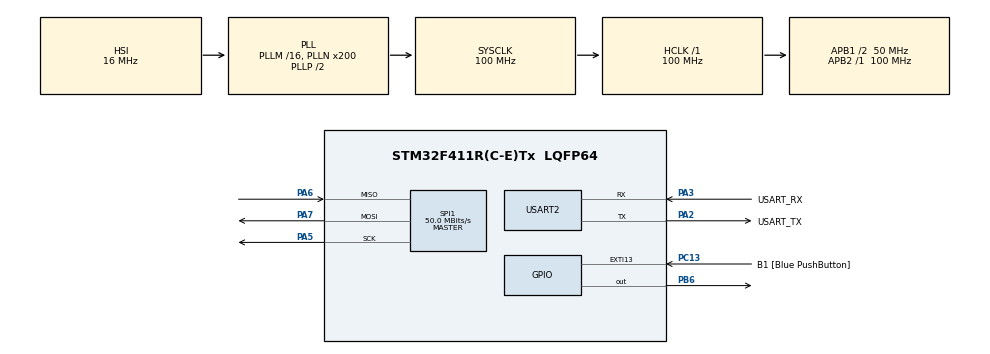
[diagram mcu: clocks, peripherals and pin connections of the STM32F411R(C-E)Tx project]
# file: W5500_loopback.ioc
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Mcu.Family=STM32F4
Mcu.Name=STM32F411R(C-E)Tx
Mcu.Package=LQFP64
NVIC.PriorityGroup=NVIC_PRIORITYGROUP_0
NVIC.USART2_IRQn=true\:0\:0\:false\:false\:true\:true\:true
PA13.GPIO_Label=TMS
PA13.Mode=Serial_Wire
PA13.Signal=SYS_JTMS-SWDIO
PA14.GPIO_Label=TCK
PA14.Mode=Serial_Wire
PA14.Signal=SYS_JTCK-SWCLK
PA2.GPIO_Label=USART_TX
PA2.Mode=Asynchronous
PA2.Signal=USART2_TX
PA3.GPIO_Label=USART_RX
PA3.Mode=Asynchronous
PA3.Signal=USART2_RX
PA5.Mode=Full_Duplex_Master
PA5.Signal=SPI1_SCK
PA6.Mode=Full_Duplex_Master
PA6.Signal=SPI1_MISO
PA7.Mode=Full_Duplex_Master
PA7.Signal=SPI1_MOSI
PB3.GPIO_Label=SWO
PB3.Signal=SYS_JTDO-SWO
PB6.Signal=GPIO_Output
PC13-ANTI_TAMP.GPIO_Label=B1 [Blue PushButton]
PC13-ANTI_TAMP.GPIO_ModeDefaultEXTI=GPIO_MODE_IT_FALLING
PC13-ANTI_TAMP.Signal=GPXTI13
PC14-OSC32_IN.Mode=LSE-External-Oscillator
PC14-OSC32_IN.Signal=RCC_OSC32_IN
PC15-OSC32_OUT.Mode=LSE-External-Oscillator
PC15-OSC32_OUT.Signal=RCC_OSC32_OUT
PH0\ -\ OSC_IN.Mode=HSE-External-Clock-Source
PH0\ -\ OSC_IN.Signal=RCC_OSC_IN
PH1\ -\ OSC_OUT.Mode=HSE-External-Clock-Source
PH1\ -\ OSC_OUT.Signal=RCC_OSC_OUT
ProjectManager.HeapSize=0x200
ProjectManager.StackSize=0x400
ProjectManager.TargetToolchain=TrueSTUDIO
RCC.48MHZClocksFreq_Value=50000000
RCC.AHBFreq_Value=100000000
RCC.APB1CLKDivider=RCC_HCLK_DIV2
RCC.APB1Freq_Value=50000000
RCC.APB1TimFreq_Value=100000000
RCC.APB2Freq_Value=100000000
RCC.APB2TimFreq_Value=100000000
RCC.CortexFreq_Value=100000000
RCC.FLatency-AdvancedSettings=FLASH_LATENCY_3
RCC.HCLKFreq_Value=100000000
RCC.HSE_VALUE=8000000
RCC.HSI_VALUE=16000000
RCC.PLLN=200
RCC.SYSCLKFreq_VALUE=100000000
RCC.SYSCLKSource=RCC_SYSCLKSOURCE_PLLCLK
RCC.VCOOutputFreq_Value=200000000
SPI1.CalculateBaudRate=50.0 MBits/s
SPI1.Direction=SPI_DIRECTION_2LINES
SPI1.Mode=SPI_MODE_MASTER
SPI1.VirtualType=VM_MASTER
USART2.VirtualMode=VM_ASYNC
board=NUCLEO-F411RE

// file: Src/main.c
/* USER CODE BEGIN Header */
/**
  ******************************************************************************
  * @file           : main.c
  * @brief          : Main program body
  ******************************************************************************
  * @attention
  *
  * <h2><center>&copy; Copyright (c) 2019 STMicroelectronics.
  * All rights reserved.</center></h2>
  *
  * This software component is licensed by ST under BSD 3-Clause license,
  * the "License"; You may not use this file except in compliance with the
  * License. You may obtain a copy of the License at:
  *                        opensource.org/licenses/BSD-3-Clause
  *
  ******************************************************************************
  */
/* USER CODE END Header */

#include "main.h"

/* USER CODE BEGIN Includes */
#include "wizchip_conf.h"
/* USER CODE END Includes */

SPI_HandleTypeDef hspi1;

UART_HandleTypeDef huart2;

/* USER CODE BEGIN PV */
wiz_NetInfo defaultNetInfo = { .mac = {0x00,0x08,0xdc,0xff,0xee,0xdd},
							.ip = {192,168,0,130},
							//.ip = {222,98,173,241},
							.sn = {255,255,255,0},
							.gw = {222,98,173,254},
							//.dns = {168, 126, 63, 1},
							.dns = {8, 8, 8, 8},
							.dhcp = NETINFO_STATIC};

unsigned char gServer_IP[4] = {192,168,0,5};
/* USER CODE END PV */

void SystemClock_Config(void);
static void MX_GPIO_Init(void);
static void MX_SPI1_Init(void);
static void MX_USART2_UART_Init(void);
/* USER CODE BEGIN PFP */
uint8_t rxData[2];
uint8_t eth0_buf[512];

int _write(int fd, char *str, int len)
{
	for(int i=0; i<len; i++)
	{
		HAL_UART_Transmit(&huart2, (uint8_t *)&str[i], 1, 0xFFFF);
	}
	return len;
}

void HAL_UART_RxCpltCallback(UART_HandleTypeDef *huart) {

    /*
        This will be called once data is received successfully,
        via interrupts.
    */

     /*
       loop back received data
     */
     HAL_UART_Receive_IT(&huart2, rxData, 1);
     HAL_UART_Transmit(&huart2, rxData, 1, 1000);
}
/* USER CODE END PFP */

/* USER CODE BEGIN 0 */
void csEnable(void)
{
	HAL_GPIO_WritePin(GPIOB, GPIO_PIN_6, GPIO_PIN_RESET);
}

void csDisable(void)
{
	HAL_GPIO_WritePin(GPIOB, GPIO_PIN_6, GPIO_PIN_SET);
}

void spiWriteByte(uint8_t tx)
{
	uint8_t rx;
	HAL_SPI_TransmitReceive(&hspi1, &tx, &rx, 1, 10);
}

uint8_t spiReadByte(void)
{
	uint8_t rx = 0, tx = 0xFF;
	HAL_SPI_TransmitReceive(&hspi1, &tx, &rx, 1, 10);
	return rx;
}
void W5500_Initialze(void)
{
	//intr_kind temp;
	//unsigned char W5100S_AdrSet[2][4] = {{2,2,2,2},{2,2,2,2}};
	csDisable();
	/*
	 */
	reg_wizchip_cs_cbfunc(csEnable, csDisable);
	reg_wizchip_spi_cbfunc(spiReadByte,spiWriteByte);
	/*temp = IK_DEST_UNREACH;

	if(ctlwizchip(CW_INIT_WIZCHIP,(void*)W5100S_AdrSet) == -1)
	{
		printf("W5100S initialized fail.\r\n");
	}

	if(ctlwizchip(CW_SET_INTRMASK,&temp) == -1)
	{
		printf("W5100S interrupt\r\n");
	}

	do{//check phy status.
		if(ctlwizchip(CW_GET_PHYLINK,(void*)&temp) == -1){
			printf("Unknown PHY link status.\r\n");
		}
	}while(temp == PHY_LINK_OFF);
	*/
	uint8_t tmp;
	uint8_t memsize[2][8] = { {2,2,2,2,2,2,2,2},{2,2,2,2,2,2,2,2}};
	if(ctlwizchip(CW_INIT_WIZCHIP,(void*)memsize) == -1)
	{
		//myprintf("WIZCHIP Initialized fail.\r\n");
		HAL_UART_Transmit(&huart2, (uint8_t *)"WIZCHIP Initialized fail.\r\n", 1, 10);
	  return;
	}

	/* PHY link status check */
	do {
		if(ctlwizchip(CW_GET_PHYLINK, (void*)&tmp) == -1)
		{
		  HAL_UART_Transmit(&huart2, (uint8_t *)"Unknown PHY Link status.\r\n", 1, 10);
		  return;
		}
	} while (tmp == PHY_LINK_OFF);
}

void print_network_information(void)
{
	wizchip_getnetinfo(&defaultNetInfo);
	printf("Mac address: %02x:%02x:%02x:%02x:%02x:%02x\n\r",defaultNetInfo.mac[0],defaultNetInfo.mac[1],defaultNetInfo.mac[2],defaultNetInfo.mac[3],defaultNetInfo.mac[4],defaultNetInfo.mac[5]);
	printf("IP address : %d.%d.%d.%d\n\r",defaultNetInfo.ip[0],defaultNetInfo.ip[1],defaultNetInfo.ip[2],defaultNetInfo.ip[3]);
	printf("SM Mask	   : %d.%d.%d.%d\n\r",defaultNetInfo.sn[0],defaultNetInfo.sn[1],defaultNetInfo.sn[2],defaultNetInfo.sn[3]);
	printf("Gate way   : %d.%d.%d.%d\n\r",defaultNetInfo.gw[0],defaultNetInfo.gw[1],defaultNetInfo.gw[2],defaultNetInfo.gw[3]);
	printf("DNS Server : %d.%d.%d.%d\n\r",defaultNetInfo.dns[0],defaultNetInfo.dns[1],defaultNetInfo.dns[2],defaultNetInfo.dns[3]);
}
/* USER CODE END 0 */

int main(void)
{
  /* USER CODE BEGIN 1 */\
  uint8_t ret;
  /* USER CODE END 1 */

  /* MCU Configuration--------------------------------------------------------*/

  /* Reset of all peripherals, Initializes the Flash interface and the Systick. */
  HAL_Init();

  /* Configure the system clock */
  SystemClock_Config();

  /* Initialize all configured peripherals */
  MX_GPIO_Init();
  MX_SPI1_Init();
  MX_USART2_UART_Init();
  /* USER CODE BEGIN 2 */
  printf("Hello! W5500 loopback System \r\n");
    HAL_UART_Receive_IT(&huart2, rxData, 1);

    W5500_Initialze();
    wizchip_setnetinfo(&defaultNetInfo);
    print_network_information();
  /* USER CODE END 2 */

  /* Infinite loop */
  while (1)
  {

    /* USER CODE BEGIN 3 */
	ret = loopback_tcps(0, eth0_buf, 5001);
	/*if(eth0_buf[0] != 0 )
	{
		printf("ret = %d, buf = %X[%s]\r\n", ret, eth0_buf[0],eth0_buf);
		if(eth0_buf[0] == 0x5a)
		{
			printf("data = 0x5a \r\n");
			eth0_buf[0] = 0xA5;
			ret = send(0, eth0_buf, 1);
		}
		else
		{
			ret = send(0, eth0_buf, strlen(eth0_buf));
		}
		memset(eth0_buf, 0, sizeof(eth0_buf));
	}*/

  }
  /* USER CODE END 3 */
}

void SystemClock_Config(void)
{
  RCC_OscInitTypeDef RCC_OscInitStruct = {0};
  RCC_ClkInitTypeDef RCC_ClkInitStruct = {0};

  /** Configure the main internal regulator output voltage
  */
  __HAL_RCC_PWR_CLK_ENABLE();
  __HAL_PWR_VOLTAGESCALING_CONFIG(PWR_REGULATOR_VOLTAGE_SCALE1);
  /** Initializes the CPU, AHB and APB busses clocks
  */
  RCC_OscInitStruct.OscillatorType = RCC_OSCILLATORTYPE_HSI;
  RCC_OscInitStruct.HSIState = RCC_HSI_ON;
  RCC_OscInitStruct.HSICalibrationValue = RCC_HSICALIBRATION_DEFAULT;
  RCC_OscInitStruct.PLL.PLLState = RCC_PLL_ON;
  RCC_OscInitStruct.PLL.PLLSource = RCC_PLLSOURCE_HSI;
  RCC_OscInitStruct.PLL.PLLM = 16;
  RCC_OscInitStruct.PLL.PLLN = 200;
  RCC_OscInitStruct.PLL.PLLP = RCC_PLLP_DIV2;
  RCC_OscInitStruct.PLL.PLLQ = 4;
  if (HAL_RCC_OscConfig(&RCC_OscInitStruct) != HAL_OK)
  {
    Error_Handler();
  }
  /** Initializes the CPU, AHB and APB busses clocks
  */
  RCC_ClkInitStruct.ClockType = RCC_CLOCKTYPE_HCLK|RCC_CLOCKTYPE_SYSCLK
                              |RCC_CLOCKTYPE_PCLK1|RCC_CLOCKTYPE_PCLK2;
  RCC_ClkInitStruct.SYSCLKSource = RCC_SYSCLKSOURCE_PLLCLK;
  RCC_ClkInitStruct.AHBCLKDivider = RCC_SYSCLK_DIV1;
  RCC_ClkInitStruct.APB1CLKDivider = RCC_HCLK_DIV2;
  RCC_ClkInitStruct.APB2CLKDivider = RCC_HCLK_DIV1;

  if (HAL_RCC_ClockConfig(&RCC_ClkInitStruct, FLASH_LATENCY_3) != HAL_OK)
  {
    Error_Handler();
  }
}

static void MX_SPI1_Init(void)
{

  /* SPI1 parameter configuration*/
  hspi1.Instance = SPI1;
  hspi1.Init.Mode = SPI_MODE_MASTER;
  hspi1.Init.Direction = SPI_DIRECTION_2LINES;
  hspi1.Init.DataSize = SPI_DATASIZE_8BIT;
  hspi1.Init.CLKPolarity = SPI_POLARITY_LOW;
  hspi1.Init.CLKPhase = SPI_PHASE_1EDGE;
  hspi1.Init.NSS = SPI_NSS_SOFT;
  hspi1.Init.BaudRatePrescaler = SPI_BAUDRATEPRESCALER_2;
  hspi1.Init.FirstBit = SPI_FIRSTBIT_MSB;
  hspi1.Init.TIMode = SPI_TIMODE_DISABLE;
  hspi1.Init.CRCCalculation = SPI_CRCCALCULATION_DISABLE;
  hspi1.Init.CRCPolynomial = 10;
  if (HAL_SPI_Init(&hspi1) != HAL_OK)
  {
    Error_Handler();
  }

}

static void MX_USART2_UART_Init(void)
{

  huart2.Instance = USART2;
  huart2.Init.BaudRate = 115200;
  huart2.Init.WordLength = UART_WORDLENGTH_8B;
  huart2.Init.StopBits = UART_STOPBITS_1;
  huart2.Init.Parity = UART_PARITY_NONE;
  huart2.Init.Mode = UART_MODE_TX_RX;
  huart2.Init.HwFlowCtl = UART_HWCONTROL_NONE;
  huart2.Init.OverSampling = UART_OVERSAMPLING_16;
  if (HAL_UART_Init(&huart2) != HAL_OK)
  {
    Error_Handler();
  }

}

static void MX_GPIO_Init(void)
{
  GPIO_InitTypeDef GPIO_InitStruct = {0};

  /* GPIO Ports Clock Enable */
  __HAL_RCC_GPIOC_CLK_ENABLE();
  __HAL_RCC_GPIOH_CLK_ENABLE();
  __HAL_RCC_GPIOA_CLK_ENABLE();
  __HAL_RCC_GPIOB_CLK_ENABLE();

  /*Configure GPIO pin Output Level */
  HAL_GPIO_WritePin(GPIOB, GPIO_PIN_6, GPIO_PIN_RESET);

  /*Configure GPIO pin : B1_Pin */
  GPIO_InitStruct.Pin = B1_Pin;
  GPIO_InitStruct.Mode = GPIO_MODE_IT_FALLING;
  GPIO_InitStruct.Pull = GPIO_NOPULL;
  HAL_GPIO_Init(B1_GPIO_Port, &GPIO_InitStruct);

  /*Configure GPIO pin : PB6 */
  GPIO_InitStruct.Pin = GPIO_PIN_6;
  GPIO_InitStruct.Mode = GPIO_MODE_OUTPUT_PP;
  GPIO_InitStruct.Pull = GPIO_NOPULL;
  GPIO_InitStruct.Speed = GPIO_SPEED_FREQ_LOW;
  HAL_GPIO_Init(GPIOB, &GPIO_InitStruct);

}

void Error_Handler(void)
{
}

/************************ (C) COPYRIGHT STMicroelectronics *****END OF FILE****/
